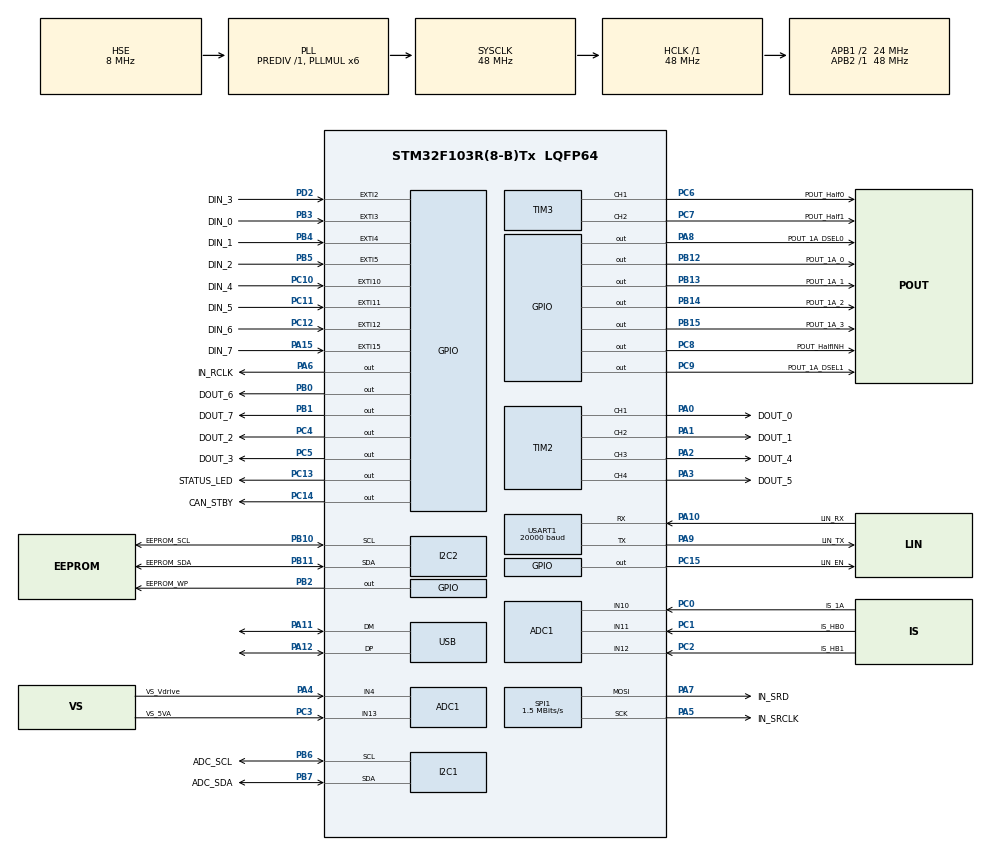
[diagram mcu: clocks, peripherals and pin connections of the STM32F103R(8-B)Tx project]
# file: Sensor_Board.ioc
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ADC1.Channel-1\#ChannelRegularConversion=ADC_CHANNEL_TEMPSENSOR
ADC1.NbrOfConversionFlag=1
ADC1.Rank-1\#ChannelRegularConversion=1
ADC1.SamplingTime-1\#ChannelRegularConversion=ADC_SAMPLETIME_1CYCLE_5
ADC1.master=1
I2C1.I2C_Mode=I2C_Fast
Mcu.Family=STM32F1
Mcu.Name=STM32F103R(8-B)Tx
Mcu.Package=LQFP64
NVIC.PriorityGroup=NVIC_PRIORITYGROUP_4
NVIC.USB_LP_CAN1_RX0_IRQn=true\:0\:0\:false\:false\:true\:false\:true\:true
PA0-WKUP.GPIO_Label=DOUT_0
PA0-WKUP.Signal=S_TIM2_CH1_ETR
PA1.GPIO_Label=DOUT_1
PA1.Signal=S_TIM2_CH2
PA10.GPIO_Label=LIN_RX
PA10.Mode=LIN
PA10.Signal=USART1_RX
PA11.Mode=Device
PA11.Signal=USB_DM
PA12.Mode=Device
PA12.Signal=USB_DP
PA13.Mode=Serial_Wire
PA13.Signal=SYS_JTMS-SWDIO
PA14.Mode=Serial_Wire
PA14.Signal=SYS_JTCK-SWCLK
PA15.GPIO_Label=DIN_7
PA15.Signal=GPXTI15
PA2.GPIO_Label=DOUT_4
PA2.Signal=S_TIM2_CH3
PA3.GPIO_Label=DOUT_5
PA3.Signal=S_TIM2_CH4
PA4.GPIO_Label=VS_Vdrive
PA4.Signal=ADCx_IN4
PA5.GPIO_Label=IN_SRCLK
PA5.Mode=TX_Only_Simplex_Unidirect_Master
PA5.Signal=SPI1_SCK
PA6.GPIO_Label=IN_RCLK
PA6.Signal=GPIO_Output
PA7.GPIO_Label=IN_SRD
PA7.Mode=TX_Only_Simplex_Unidirect_Master
PA7.Signal=SPI1_MOSI
PA8.GPIO_Label=POUT_1A_DSEL0
PA8.Signal=GPIO_Output
PA9.GPIO_Label=LIN_TX
PA9.Mode=LIN
PA9.Signal=USART1_TX
PB0.GPIO_Label=DOUT_6
PB0.Signal=GPIO_Output
PB1.GPIO_Label=DOUT_7
PB1.Signal=GPIO_Output
PB10.GPIO_Label=EEPROM_SCL
PB10.Mode=I2C
PB10.Signal=I2C2_SCL
PB11.GPIO_Label=EEPROM_SDA
PB11.Mode=I2C
PB11.Signal=I2C2_SDA
PB12.GPIO_Label=POUT_1A_0
PB12.Signal=GPIO_Output
PB13.GPIO_Label=POUT_1A_1
PB13.Signal=GPIO_Output
PB14.GPIO_Label=POUT_1A_2
PB14.Signal=GPIO_Output
PB15.GPIO_Label=POUT_1A_3
PB15.Signal=GPIO_Output
PB2.GPIO_Label=EEPROM_WP
PB2.Signal=GPIO_Output
PB3.GPIO_Label=DIN_0
PB3.Signal=GPXTI3
PB4.GPIO_Label=DIN_1
PB4.Signal=GPXTI4
PB5.GPIO_Label=DIN_2
PB5.Signal=GPXTI5
PB6.GPIO_Label=ADC_SCL
PB6.Mode=I2C
PB6.Signal=I2C1_SCL
PB7.GPIO_Label=ADC_SDA
PB7.Mode=I2C
PB7.Signal=I2C1_SDA
PC0.GPIO_Label=IS_1A
PC0.Signal=ADCx_IN10
PC1.GPIO_Label=IS_HB0
PC1.Signal=ADCx_IN11
PC10.GPIO_Label=DIN_4
PC10.Signal=GPXTI10
PC11.GPIO_Label=DIN_5
PC11.Signal=GPXTI11
PC12.GPIO_Label=DIN_6
PC12.Signal=GPXTI12
PC13-TAMPER-RTC.GPIO_Label=STATUS_LED
PC13-TAMPER-RTC.Signal=GPIO_Output
PC14-OSC32_IN.GPIO_Label=CAN_STBY
PC14-OSC32_IN.Signal=GPIO_Output
PC15-OSC32_OUT.GPIO_Label=LIN_EN
PC15-OSC32_OUT.Signal=GPIO_Output
PC2.GPIO_Label=IS_HB1
PC2.Signal=ADCx_IN12
PC3.GPIO_Label=VS_5VA
PC3.Signal=ADCx_IN13
PC4.GPIO_Label=DOUT_2
PC4.Signal=GPIO_Output
PC5.GPIO_Label=DOUT_3
PC5.Signal=GPIO_Output
PC6.GPIO_Label=POUT_Half0
PC6.Signal=S_TIM3_CH1
PC7.GPIO_Label=POUT_Half1
PC7.Signal=S_TIM3_CH2
PC8.GPIO_Label=POUT_HalfINH
PC8.Signal=GPIO_Output
PC9.GPIO_Label=POUT_1A_DSEL1
PC9.Signal=GPIO_Output
PD0-OSC_IN.Mode=HSE-External-Oscillator
PD0-OSC_IN.Signal=RCC_OSC_IN
PD1-OSC_OUT.Mode=HSE-External-Oscillator
PD1-OSC_OUT.Signal=RCC_OSC_OUT
PD2.GPIO_Label=DIN_3
PD2.Signal=GPXTI2
ProjectManager.HeapSize=0x200
ProjectManager.StackSize=0x400
ProjectManager.TargetToolchain=STM32CubeIDE
RCC.ADCPresc=RCC_ADCPCLK2_DIV4
RCC.AHBFreq_Value=48000000
RCC.APB1CLKDivider=RCC_HCLK_DIV2
RCC.APB1Freq_Value=24000000
RCC.APB1TimFreq_Value=48000000
RCC.APB2Freq_Value=48000000
RCC.APB2TimFreq_Value=48000000
RCC.HCLKFreq_Value=48000000
RCC.PLLMUL=RCC_PLL_MUL6
RCC.SYSCLKFreq_VALUE=48000000
RCC.SYSCLKSource=RCC_SYSCLKSOURCE_PLLCLK
RCC.USBFreq_Value=48000000
SH.ADCx_IN10.0=ADC1_IN10,IN10
SH.ADCx_IN11.0=ADC1_IN11,IN11
SH.ADCx_IN12.0=ADC1_IN12,IN12
SH.ADCx_IN13.0=ADC1_IN13,IN13
SH.ADCx_IN4.0=ADC1_IN4,IN4
SH.S_TIM2_CH1_ETR.0=TIM2_CH1,PWM Generation1 CH1
SH.S_TIM2_CH2.0=TIM2_CH2,PWM Generation2 CH2
SH.S_TIM2_CH3.0=TIM2_CH3,PWM Generation3 CH3
SH.S_TIM2_CH4.0=TIM2_CH4,PWM Generation4 CH4
SH.S_TIM3_CH1.0=TIM3_CH1,PWM Generation1 CH1
SH.S_TIM3_CH2.0=TIM3_CH2,PWM Generation2 CH2
SPI1.BaudRatePrescaler=SPI_BAUDRATEPRESCALER_32
SPI1.CalculateBaudRate=1.5 MBits/s
SPI1.Direction=SPI_DIRECTION_2LINES
SPI1.Mode=SPI_MODE_MASTER
SPI1.VirtualType=VM_MASTER
TIM2.Channel-PWM\ Generation1\ CH1=TIM_CHANNEL_1
TIM2.Channel-PWM\ Generation1\ No\ Output=TIM_CHANNEL_1
TIM2.Channel-PWM\ Generation2\ CH2=TIM_CHANNEL_2
TIM2.Channel-PWM\ Generation2\ No\ Output=TIM_CHANNEL_2
TIM2.Channel-PWM\ Generation3\ CH3=TIM_CHANNEL_3
TIM2.Channel-PWM\ Generation3\ No\ Output=TIM_CHANNEL_3
TIM2.Channel-PWM\ Generation4\ CH4=TIM_CHANNEL_4
TIM2.Channel-PWM\ Generation4\ No\ Output=TIM_CHANNEL_4
TIM3.Channel-PWM\ Generation1\ CH1=TIM_CHANNEL_1
TIM3.Channel-PWM\ Generation2\ CH2=TIM_CHANNEL_2
USART1.BaudRate=20000
USART1.VirtualMode=VM_ASYNC
USB_DEVICE.CLASS_NAME_FS=CDC
USB_DEVICE.VirtualMode=Cdc
USB_DEVICE.VirtualModeFS=Cdc_FS
VP_ADC1_TempSens_Input.Mode=IN-TempSens
VP_ADC1_Vref_Input.Mode=IN-Vrefint
VP_USB_DEVICE_VS_USB_DEVICE_CDC_FS.Mode=CDC_FS
board=custom

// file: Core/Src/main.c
/* USER CODE BEGIN Header */
/**
  ******************************************************************************
  * @file           : main.c
  * @brief          : Main program body
  ******************************************************************************
  * @attention
  *
  * Copyright (c) 2023 STMicroelectronics.
  * All rights reserved.
  *
  * This software is licensed under terms that can be found in the LICENSE file
  * in the root directory of this software component.
  * If no LICENSE file comes with this software, it is provided AS-IS.
  *
  ******************************************************************************
  */
/* USER CODE END Header */
#include "main.h"
#include "usb_device.h"

/* USER CODE BEGIN Includes */
#include "digital_IO.h"
#include "analog_input.h"
#include "shift_register.h"
#include "usb.h"

/* USER CODE END Includes */

ADC_HandleTypeDef hadc1;

I2C_HandleTypeDef hi2c1;
I2C_HandleTypeDef hi2c2;

SPI_HandleTypeDef hspi1;

TIM_HandleTypeDef htim2;
TIM_HandleTypeDef htim3;

UART_HandleTypeDef huart1;

/* USER CODE BEGIN PV */
uint32_t prev_systick = 0;

/* USER CODE END PV */

void SystemClock_Config(void);
static void MX_GPIO_Init(void);
static void MX_ADC1_Init(void);
static void MX_I2C1_Init(void);
static void MX_I2C2_Init(void);
static void MX_SPI1_Init(void);
static void MX_TIM2_Init(void);
static void MX_TIM3_Init(void);
static void MX_USART1_UART_Init(void);

int main(void)
{

  /* MCU Configuration--------------------------------------------------------*/

  /* Reset of all peripherals, Initializes the Flash interface and the Systick. */
  HAL_Init();

  /* Configure the system clock */
  SystemClock_Config();

  /* Initialize all configured peripherals */
  MX_GPIO_Init();
  MX_ADC1_Init();
  MX_I2C1_Init();
  MX_I2C2_Init();
  MX_SPI1_Init();
  MX_TIM2_Init();
  MX_TIM3_Init();
  MX_USART1_UART_Init();
  MX_USB_DEVICE_Init();
  /* USER CODE BEGIN 2 */
  AIN_Init(&hi2c1); // ToDo: hängt sich manchmal hier noch auf beim starten
  DIO_Init();
  SR_Init(&hspi1, IN_RCLK_GPIO_Port, IN_RCLK_Pin);

  /* USER CODE END 2 */

  /* Infinite loop */
  /* USER CODE BEGIN WHILE */
  while (1)
  {
	  if(uwTick != prev_systick){
		  // execute every 1ms:
		  AIN_Read();
		  DIO_InRead();
		  DIO_OutWrite();
		  // execute every 10ms:
		  if(uwTick % 10 == 0) {
			  // send high priority USB/CAN data
		  }
		  // execute every 100ms:
		  if(uwTick % 100 == 0) {
			  // send low priority USB/CAN data
			  //USB_sendFrame(DIGITALIO);
			  USB_sendFrame(ANALOGIN);
		  }
		  // execute every 1s:
		  if(uwTick % 1000 == 0) {
			  HAL_GPIO_TogglePin(STATUS_LED_GPIO_Port, STATUS_LED_Pin);
			  //for debug: SR_Update();
		  }
		  prev_systick = uwTick;
	  }
    /* USER CODE END WHILE */

  }
}

void SystemClock_Config(void)
{
  RCC_OscInitTypeDef RCC_OscInitStruct = {0};
  RCC_ClkInitTypeDef RCC_ClkInitStruct = {0};
  RCC_PeriphCLKInitTypeDef PeriphClkInit = {0};

  /** Initializes the RCC Oscillators according to the specified parameters
  * in the RCC_OscInitTypeDef structure.
  */
  RCC_OscInitStruct.OscillatorType = RCC_OSCILLATORTYPE_HSE;
  RCC_OscInitStruct.HSEState = RCC_HSE_ON;
  RCC_OscInitStruct.HSEPredivValue = RCC_HSE_PREDIV_DIV1;
  RCC_OscInitStruct.HSIState = RCC_HSI_ON;
  RCC_OscInitStruct.PLL.PLLState = RCC_PLL_ON;
  RCC_OscInitStruct.PLL.PLLSource = RCC_PLLSOURCE_HSE;
  RCC_OscInitStruct.PLL.PLLMUL = RCC_PLL_MUL6;
  if (HAL_RCC_OscConfig(&RCC_OscInitStruct) != HAL_OK)
  {
    Error_Handler();
  }

  /** Initializes the CPU, AHB and APB buses clocks
  */
  RCC_ClkInitStruct.ClockType = RCC_CLOCKTYPE_HCLK|RCC_CLOCKTYPE_SYSCLK
                              |RCC_CLOCKTYPE_PCLK1|RCC_CLOCKTYPE_PCLK2;
  RCC_ClkInitStruct.SYSCLKSource = RCC_SYSCLKSOURCE_PLLCLK;
  RCC_ClkInitStruct.AHBCLKDivider = RCC_SYSCLK_DIV1;
  RCC_ClkInitStruct.APB1CLKDivider = RCC_HCLK_DIV2;
  RCC_ClkInitStruct.APB2CLKDivider = RCC_HCLK_DIV1;

  if (HAL_RCC_ClockConfig(&RCC_ClkInitStruct, FLASH_LATENCY_1) != HAL_OK)
  {
    Error_Handler();
  }
  PeriphClkInit.PeriphClockSelection = RCC_PERIPHCLK_ADC|RCC_PERIPHCLK_USB;
  PeriphClkInit.AdcClockSelection = RCC_ADCPCLK2_DIV4;
  PeriphClkInit.UsbClockSelection = RCC_USBCLKSOURCE_PLL;
  if (HAL_RCCEx_PeriphCLKConfig(&PeriphClkInit) != HAL_OK)
  {
    Error_Handler();
  }
}

static void MX_ADC1_Init(void)
{

  ADC_ChannelConfTypeDef sConfig = {0};

  /** Common config
  */
  hadc1.Instance = ADC1;
  hadc1.Init.ScanConvMode = ADC_SCAN_DISABLE;
  hadc1.Init.ContinuousConvMode = DISABLE;
  hadc1.Init.DiscontinuousConvMode = DISABLE;
  hadc1.Init.ExternalTrigConv = ADC_SOFTWARE_START;
  hadc1.Init.DataAlign = ADC_DATAALIGN_RIGHT;
  hadc1.Init.NbrOfConversion = 1;
  if (HAL_ADC_Init(&hadc1) != HAL_OK)
  {
    Error_Handler();
  }

  /** Configure Regular Channel
  */
  sConfig.Channel = ADC_CHANNEL_TEMPSENSOR;
  sConfig.Rank = ADC_REGULAR_RANK_1;
  sConfig.SamplingTime = ADC_SAMPLETIME_1CYCLE_5;
  if (HAL_ADC_ConfigChannel(&hadc1, &sConfig) != HAL_OK)
  {
    Error_Handler();
  }

}

static void MX_I2C1_Init(void)
{

  hi2c1.Instance = I2C1;
  hi2c1.Init.ClockSpeed = 400000;
  hi2c1.Init.DutyCycle = I2C_DUTYCYCLE_2;
  hi2c1.Init.OwnAddress1 = 0;
  hi2c1.Init.AddressingMode = I2C_ADDRESSINGMODE_7BIT;
  hi2c1.Init.DualAddressMode = I2C_DUALADDRESS_DISABLE;
  hi2c1.Init.OwnAddress2 = 0;
  hi2c1.Init.GeneralCallMode = I2C_GENERALCALL_DISABLE;
  hi2c1.Init.NoStretchMode = I2C_NOSTRETCH_DISABLE;
  if (HAL_I2C_Init(&hi2c1) != HAL_OK)
  {
    Error_Handler();
  }

}

static void MX_I2C2_Init(void)
{

  hi2c2.Instance = I2C2;
  hi2c2.Init.ClockSpeed = 100000;
  hi2c2.Init.DutyCycle = I2C_DUTYCYCLE_2;
  hi2c2.Init.OwnAddress1 = 0;
  hi2c2.Init.AddressingMode = I2C_ADDRESSINGMODE_7BIT;
  hi2c2.Init.DualAddressMode = I2C_DUALADDRESS_DISABLE;
  hi2c2.Init.OwnAddress2 = 0;
  hi2c2.Init.GeneralCallMode = I2C_GENERALCALL_DISABLE;
  hi2c2.Init.NoStretchMode = I2C_NOSTRETCH_DISABLE;
  if (HAL_I2C_Init(&hi2c2) != HAL_OK)
  {
    Error_Handler();
  }

}

static void MX_SPI1_Init(void)
{

  /* SPI1 parameter configuration*/
  hspi1.Instance = SPI1;
  hspi1.Init.Mode = SPI_MODE_MASTER;
  hspi1.Init.Direction = SPI_DIRECTION_2LINES;
  hspi1.Init.DataSize = SPI_DATASIZE_8BIT;
  hspi1.Init.CLKPolarity = SPI_POLARITY_LOW;
  hspi1.Init.CLKPhase = SPI_PHASE_1EDGE;
  hspi1.Init.NSS = SPI_NSS_SOFT;
  hspi1.Init.BaudRatePrescaler = SPI_BAUDRATEPRESCALER_32;
  hspi1.Init.FirstBit = SPI_FIRSTBIT_MSB;
  hspi1.Init.TIMode = SPI_TIMODE_DISABLE;
  hspi1.Init.CRCCalculation = SPI_CRCCALCULATION_DISABLE;
  hspi1.Init.CRCPolynomial = 10;
  if (HAL_SPI_Init(&hspi1) != HAL_OK)
  {
    Error_Handler();
  }

}

static void MX_TIM2_Init(void)
{

  TIM_MasterConfigTypeDef sMasterConfig = {0};
  TIM_OC_InitTypeDef sConfigOC = {0};

  htim2.Instance = TIM2;
  htim2.Init.Prescaler = 0;
  htim2.Init.CounterMode = TIM_COUNTERMODE_UP;
  htim2.Init.Period = 65535;
  htim2.Init.ClockDivision = TIM_CLOCKDIVISION_DIV1;
  htim2.Init.AutoReloadPreload = TIM_AUTORELOAD_PRELOAD_DISABLE;
  if (HAL_TIM_PWM_Init(&htim2) != HAL_OK)
  {
    Error_Handler();
  }
  sMasterConfig.MasterOutputTrigger = TIM_TRGO_RESET;
  sMasterConfig.MasterSlaveMode = TIM_MASTERSLAVEMODE_DISABLE;
  if (HAL_TIMEx_MasterConfigSynchronization(&htim2, &sMasterConfig) != HAL_OK)
  {
    Error_Handler();
  }
  sConfigOC.OCMode = TIM_OCMODE_PWM1;
  sConfigOC.Pulse = 0;
  sConfigOC.OCPolarity = TIM_OCPOLARITY_HIGH;
  sConfigOC.OCFastMode = TIM_OCFAST_DISABLE;
  if (HAL_TIM_PWM_ConfigChannel(&htim2, &sConfigOC, TIM_CHANNEL_1) != HAL_OK)
  {
    Error_Handler();
  }
  if (HAL_TIM_PWM_ConfigChannel(&htim2, &sConfigOC, TIM_CHANNEL_2) != HAL_OK)
  {
    Error_Handler();
  }
  if (HAL_TIM_PWM_ConfigChannel(&htim2, &sConfigOC, TIM_CHANNEL_3) != HAL_OK)
  {
    Error_Handler();
  }
  if (HAL_TIM_PWM_ConfigChannel(&htim2, &sConfigOC, TIM_CHANNEL_4) != HAL_OK)
  {
    Error_Handler();
  }
  HAL_TIM_MspPostInit(&htim2);

}

static void MX_TIM3_Init(void)
{

  TIM_MasterConfigTypeDef sMasterConfig = {0};
  TIM_OC_InitTypeDef sConfigOC = {0};

  htim3.Instance = TIM3;
  htim3.Init.Prescaler = 0;
  htim3.Init.CounterMode = TIM_COUNTERMODE_UP;
  htim3.Init.Period = 65535;
  htim3.Init.ClockDivision = TIM_CLOCKDIVISION_DIV1;
  htim3.Init.AutoReloadPreload = TIM_AUTORELOAD_PRELOAD_DISABLE;
  if (HAL_TIM_PWM_Init(&htim3) != HAL_OK)
  {
    Error_Handler();
  }
  sMasterConfig.MasterOutputTrigger = TIM_TRGO_RESET;
  sMasterConfig.MasterSlaveMode = TIM_MASTERSLAVEMODE_DISABLE;
  if (HAL_TIMEx_MasterConfigSynchronization(&htim3, &sMasterConfig) != HAL_OK)
  {
    Error_Handler();
  }
  sConfigOC.OCMode = TIM_OCMODE_PWM1;
  sConfigOC.Pulse = 0;
  sConfigOC.OCPolarity = TIM_OCPOLARITY_HIGH;
  sConfigOC.OCFastMode = TIM_OCFAST_DISABLE;
  if (HAL_TIM_PWM_ConfigChannel(&htim3, &sConfigOC, TIM_CHANNEL_1) != HAL_OK)
  {
    Error_Handler();
  }
  if (HAL_TIM_PWM_ConfigChannel(&htim3, &sConfigOC, TIM_CHANNEL_2) != HAL_OK)
  {
    Error_Handler();
  }
  HAL_TIM_MspPostInit(&htim3);

}

static void MX_USART1_UART_Init(void)
{

  huart1.Instance = USART1;
  huart1.Init.BaudRate = 20000;
  huart1.Init.WordLength = UART_WORDLENGTH_8B;
  huart1.Init.StopBits = UART_STOPBITS_1;
  huart1.Init.Parity = UART_PARITY_NONE;
  huart1.Init.Mode = UART_MODE_TX_RX;
  huart1.Init.HwFlowCtl = UART_HWCONTROL_NONE;
  if (HAL_LIN_Init(&huart1, UART_LINBREAKDETECTLENGTH_10B) != HAL_OK)
  {
    Error_Handler();
  }

}

static void MX_GPIO_Init(void)
{
  GPIO_InitTypeDef GPIO_InitStruct = {0};

  /* GPIO Ports Clock Enable */
  __HAL_RCC_GPIOC_CLK_ENABLE();
  __HAL_RCC_GPIOD_CLK_ENABLE();
  __HAL_RCC_GPIOA_CLK_ENABLE();
  __HAL_RCC_GPIOB_CLK_ENABLE();

  /*Configure GPIO pin Output Level */
  HAL_GPIO_WritePin(GPIOC, STATUS_LED_Pin|CAN_STBY_Pin|LIN_EN_Pin|DOUT_2_Pin
                          |DOUT_3_Pin|POUT_HalfINH_Pin|POUT_1A_DSEL1_Pin, GPIO_PIN_RESET);

  /*Configure GPIO pin Output Level */
  HAL_GPIO_WritePin(GPIOA, IN_RCLK_Pin|POUT_1A_DSEL0_Pin, GPIO_PIN_RESET);

  /*Configure GPIO pin Output Level */
  HAL_GPIO_WritePin(GPIOB, DOUT_6_Pin|DOUT_7_Pin|EEPROM_WP_Pin|POUT_1A_0_Pin
                          |POUT_1A_1_Pin|POUT_1A_2_Pin|POUT_1A_3_Pin, GPIO_PIN_RESET);

  /*Configure GPIO pins : STATUS_LED_Pin CAN_STBY_Pin LIN_EN_Pin DOUT_2_Pin
                           DOUT_3_Pin POUT_HalfINH_Pin POUT_1A_DSEL1_Pin */
  GPIO_InitStruct.Pin = STATUS_LED_Pin|CAN_STBY_Pin|LIN_EN_Pin|DOUT_2_Pin
                          |DOUT_3_Pin|POUT_HalfINH_Pin|POUT_1A_DSEL1_Pin;
  GPIO_InitStruct.Mode = GPIO_MODE_OUTPUT_PP;
  GPIO_InitStruct.Pull = GPIO_NOPULL;
  GPIO_InitStruct.Speed = GPIO_SPEED_FREQ_LOW;
  HAL_GPIO_Init(GPIOC, &GPIO_InitStruct);

  /*Configure GPIO pins : IN_RCLK_Pin POUT_1A_DSEL0_Pin */
  GPIO_InitStruct.Pin = IN_RCLK_Pin|POUT_1A_DSEL0_Pin;
  GPIO_InitStruct.Mode = GPIO_MODE_OUTPUT_PP;
  GPIO_InitStruct.Pull = GPIO_NOPULL;
  GPIO_InitStruct.Speed = GPIO_SPEED_FREQ_LOW;
  HAL_GPIO_Init(GPIOA, &GPIO_InitStruct);

  /*Configure GPIO pins : DOUT_6_Pin DOUT_7_Pin EEPROM_WP_Pin POUT_1A_0_Pin
                           POUT_1A_1_Pin POUT_1A_2_Pin POUT_1A_3_Pin */
  GPIO_InitStruct.Pin = DOUT_6_Pin|DOUT_7_Pin|EEPROM_WP_Pin|POUT_1A_0_Pin
                          |POUT_1A_1_Pin|POUT_1A_2_Pin|POUT_1A_3_Pin;
  GPIO_InitStruct.Mode = GPIO_MODE_OUTPUT_PP;
  GPIO_InitStruct.Pull = GPIO_NOPULL;
  GPIO_InitStruct.Speed = GPIO_SPEED_FREQ_LOW;
  HAL_GPIO_Init(GPIOB, &GPIO_InitStruct);

  /*Configure GPIO pin : DIN_7_Pin */
  GPIO_InitStruct.Pin = DIN_7_Pin;
  GPIO_InitStruct.Mode = GPIO_MODE_IT_RISING;
  GPIO_InitStruct.Pull = GPIO_NOPULL;
  HAL_GPIO_Init(DIN_7_GPIO_Port, &GPIO_InitStruct);

  /*Configure GPIO pins : DIN_4_Pin DIN_5_Pin DIN_6_Pin */
  GPIO_InitStruct.Pin = DIN_4_Pin|DIN_5_Pin|DIN_6_Pin;
  GPIO_InitStruct.Mode = GPIO_MODE_IT_RISING;
  GPIO_InitStruct.Pull = GPIO_NOPULL;
  HAL_GPIO_Init(GPIOC, &GPIO_InitStruct);

  /*Configure GPIO pin : DIN_3_Pin */
  GPIO_InitStruct.Pin = DIN_3_Pin;
  GPIO_InitStruct.Mode = GPIO_MODE_IT_RISING;
  GPIO_InitStruct.Pull = GPIO_NOPULL;
  HAL_GPIO_Init(DIN_3_GPIO_Port, &GPIO_InitStruct);

  /*Configure GPIO pins : DIN_0_Pin DIN_1_Pin DIN_2_Pin */
  GPIO_InitStruct.Pin = DIN_0_Pin|DIN_1_Pin|DIN_2_Pin;
  GPIO_InitStruct.Mode = GPIO_MODE_IT_RISING;
  GPIO_InitStruct.Pull = GPIO_NOPULL;
  HAL_GPIO_Init(GPIOB, &GPIO_InitStruct);

}

void Error_Handler(void)
{
  __disable_irq();
  while (1)
  {
  }
}
